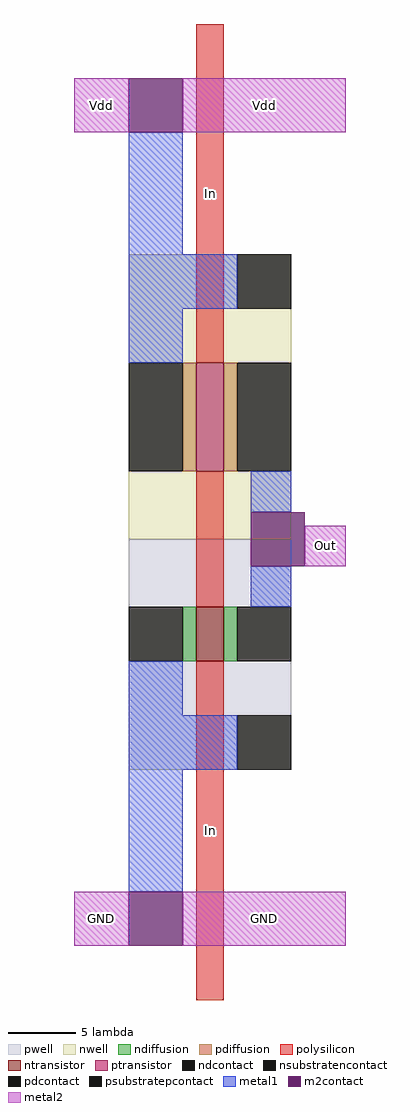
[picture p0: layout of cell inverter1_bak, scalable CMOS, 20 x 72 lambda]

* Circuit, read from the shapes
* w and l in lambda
.subckt inverter1_bak GND In Out Vdd
M1 Out In GND GND nfet w=4 l=2
M2 Out In Vdd Vdd pfet w=8 l=2
.ends

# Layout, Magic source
magic
tech scmos
<< pwell >>
rect 2 18 14 35
<< nwell >>
rect 2 35 14 56
<< polysilicon >>
rect 7 48 9 73
rect 7 30 9 40
rect 7 1 9 26
<< ndiffusion >>
rect 6 26 7 30
rect 9 26 10 30
<< pdiffusion >>
rect 6 40 7 48
rect 9 40 10 48
<< metal1 >>
rect 2 56 6 65
rect 2 52 10 56
rect 2 48 6 52
rect 11 37 14 40
rect 11 30 14 33
rect 2 22 6 26
rect 2 18 10 22
rect 2 9 6 18
<< metal2 >>
rect -2 65 2 69
rect 6 65 18 69
rect 15 33 18 36
rect -2 5 2 9
rect 6 5 18 9
<< ntransistor >>
rect 7 26 9 30
<< ptransistor >>
rect 7 40 9 48
<< ndcontact >>
rect 2 26 6 30
rect 10 26 14 30
<< pdcontact >>
rect 2 40 6 48
rect 10 40 14 48
<< m2contact >>
rect 2 65 6 69
rect 11 33 15 37
rect 2 5 6 9
<< psubstratepcontact >>
rect 10 18 14 22
<< nsubstratencontact >>
rect 10 52 14 56
<< labels >>
rlabel metal2 15 33 18 36 3 Out
rlabel metal2 6 65 18 69 3 Vdd
rlabel metal2 -2 65 2 69 7 Vdd
rlabel metal2 -2 5 2 9 7 GND
rlabel metal2 6 5 18 9 3 GND
rlabel polysilicon 7 48 9 73 1 In
rlabel polysilicon 7 1 9 26 5 In
<< end >>
